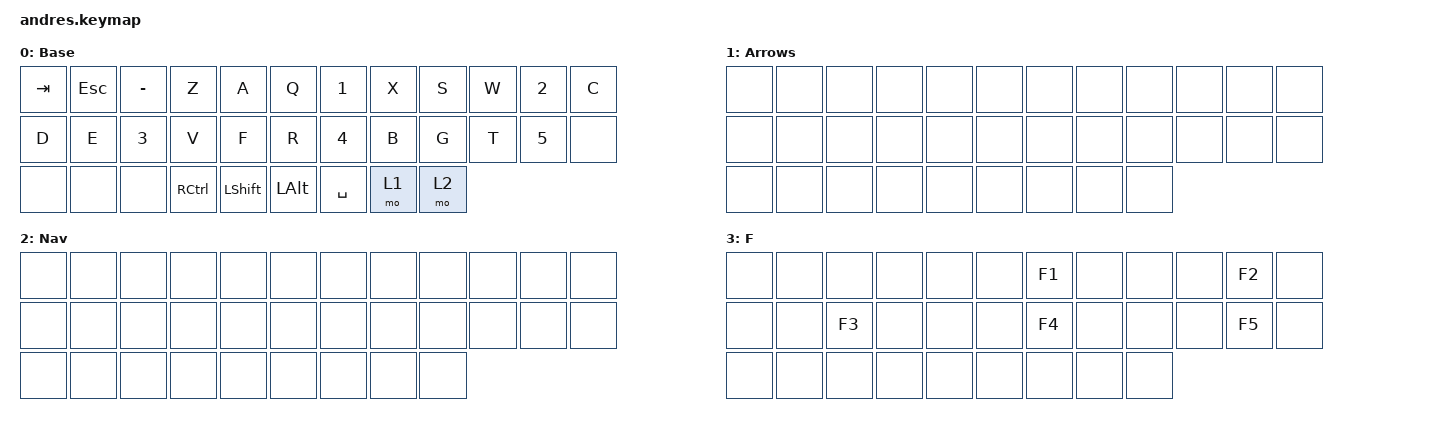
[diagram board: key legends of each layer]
#include <behaviors.dtsi>
#include <dt-bindings/zmk/keys.h>

/ {
  keymap {
    compatible = "zmk,keymap";
    default_layer {
      display-name = "Base";
      bindings = <
        &kp TAB &kp ESC &kp MINUS &kp Z &kp A &kp Q &kp N1 &kp X &kp S &kp W &kp N2 &kp C
        &kp D &kp E &kp N3 &kp V &kp F &kp R &kp N4 &kp B &kp G &kp T &kp N5 &none
        &none &none &none &kp RCTRL &kp LSHFT &kp LALT &kp SPACE &mo 1 &mo 2
      >;
    };
    layer_1 {
      display-name = "Arrows";
      bindings = <
        &none &none &none &none &none &none &none &none &none &none &none &none
        &none &none &none &none &none &none &none &none &none &none &none &none
        &none &none &none &none &none &none &none &none &none
      >;
    };
    layer_2 {
      display-name = "Nav";
      bindings = <
        &none &none &none &none &none &none &none &none &none &none &none &none
        &none &none &none &none &none &none &none &none &none &none &none &none
        &none &none &none &none &none &none &none &none &none
      >;
    };
    layer_3 {
      display-name = "F";
      bindings = <
        &none &none &none &none &none &none &kp F1 &none &none &none &kp F2 &none
        &none &none &kp F3 &none &none &none &kp F4 &none &none &none &kp F5 &none
        &none &none &none &none &none &none &none &none &none
      >;
    };
  };
};
